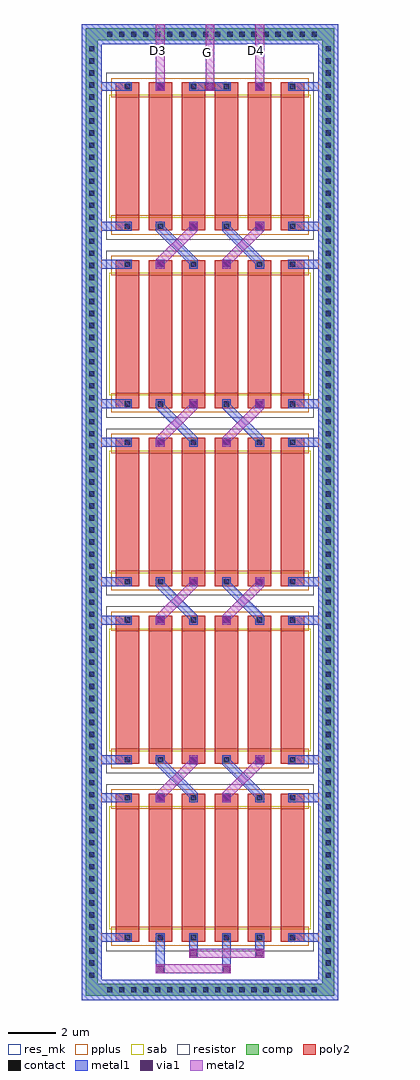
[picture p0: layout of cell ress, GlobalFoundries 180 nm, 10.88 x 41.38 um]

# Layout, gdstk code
from math import pi, radians
import gdstk
lib = gdstk.Library(unit=1e-6, precision=5e-09)
def R(c, l, rs):  # rectangles x0, y0, x1, y1
    for r in rs: c.add(gdstk.rectangle(r[:2], r[2:], *l))
def A(c, l, x, y, w, h, nx, ny, dx, dy):  # array of equal rectangles
    R(c, l, [(x+i*dx, y+j*dy, x+i*dx+w, y+j*dy+h) for i in range(nx) for j in range(ny)])
comp = (22, 0)
poly2 = (30, 0)
pplus = (31, 0)
contact = (33, 0)
metal1 = (34, 0)
via1 = (35, 0)
metal2 = (36, 0)
sab = (49, 0)
resistor = (62, 0)
res_mk = (110, 5)

resss = lib.new_cell('resss')
R(resss, poly2, [(0.4,0.4,6.68,1.4)])
R(resss, pplus, [(0.22,0.22,1.04,1.58), (6.04,0.22,6.86,1.58)])
R(resss, contact, [(0.47,0.79,0.69,1.01), (6.39,0.79,6.61,1.01)])
R(resss, metal1, [(0.39,0.71,0.77,1.09), (6.31,0.71,6.69,1.09)])
R(resss, sab, [(0.94,0.12,6.14,1.68)])
R(resss, resistor, [(0,0,7.08,1.8)])
R(resss, res_mk, [(1.04,0.4,6.04,1.4)])

ress = lib.new_cell('ress')
R(ress, pplus, [(1.26,2.29,9.62,3.11), (1.26,8.11,9.62,8.93), (1.26,9.83,9.62,10.65), (1.26,15.65,9.62,16.47), (1.26,17.37,9.62,18.19), (1.26,23.19,9.62,24.01), (1.26,24.91,9.62,25.73), (1.26,30.73,9.62,31.55), (1.26,32.45,9.62,33.27), (1.26,38.27,9.62,39.09)])
A(ress, contact, 1.075, 0.32, 0.22, 0.22, 18, 2, 0.51, 40.52)
A(ress, contact, 0.32, 0.945, 0.22, 0.22, 1, 78, 0, 0.51)
A(ress, contact, 10.34, 0.945, 0.22, 0.22, 1, 78, 0, 0.51)
A(ress, via1, 3.21, 8.44, 0.26, 0.26, 1, 5, 0, 7.54)
A(ress, via1, 6.01, 8.44, 0.26, 0.26, 1, 4, 0, 7.54)
A(ress, via1, 3.21, 38.6, 0.26, 0.26, 3, 1, 2.1, 0)
R(ress, via1, [(3.21,1.2,3.47,1.46), (6.01,1.2,6.27,1.46), (4.61,1.86,4.87,2.12), (7.41,1.86,7.67,2.12), (4.61,10.06,4.87,10.32), (4.61,10.06,4.87,10.32), (7.41,10.06,7.67,10.32), (7.41,10.06,7.67,10.32), (4.61,17.6,4.87,17.86), (4.61,17.6,4.87,17.86), (7.41,17.6,7.67,17.86), (7.41,17.6,7.67,17.86), (4.61,25.14,4.87,25.4), (4.61,25.14,4.87,25.4), (7.41,25.14,7.67,25.4), (7.41,25.14,7.67,25.4), (4.61,32.68,4.87,32.94), (4.61,32.68,4.87,32.94), (7.41,32.68,7.67,32.94), (7.41,32.68,7.67,32.94), (7.41,38.6,7.67,38.86)])
ress.add(gdstk.FlexPath([(4.93,38.73),(5.95,38.73)], 0.38, ends="flush", simple_path=True, layer=34, datatype=0))  # metal1
ress.add(gdstk.FlexPath([(7.54,31),(7.54,31.3),(6.14,32.7),(6.14,33)], 0.38, ends="flush", simple_path=True, layer=34, datatype=0))  # metal1
ress.add(gdstk.FlexPath([(4.74,31),(4.74,31.3),(3.34,32.7),(3.34,33)], 0.38, ends="flush", simple_path=True, layer=34, datatype=0))  # metal1
ress.add(gdstk.FlexPath([(7.54,23.46),(7.54,23.76),(6.14,25.16),(6.14,25.46)], 0.38, ends="flush", simple_path=True, layer=34, datatype=0))  # metal1
ress.add(gdstk.FlexPath([(4.74,23.46),(4.74,23.76),(3.34,25.16),(3.34,25.46)], 0.38, ends="flush", simple_path=True, layer=34, datatype=0))  # metal1
ress.add(gdstk.FlexPath([(7.54,15.92),(7.54,16.22),(6.14,17.62),(6.14,17.92)], 0.38, ends="flush", simple_path=True, layer=34, datatype=0))  # metal1
ress.add(gdstk.FlexPath([(4.74,15.92),(4.74,16.22),(3.34,17.62),(3.34,17.92)], 0.38, ends="flush", simple_path=True, layer=34, datatype=0))  # metal1
ress.add(gdstk.FlexPath([(7.54,8.38),(7.54,8.68),(6.14,10.08),(6.14,10.38)], 0.38, ends="flush", simple_path=True, layer=34, datatype=0))  # metal1
ress.add(gdstk.FlexPath([(4.74,8.38),(4.74,8.68),(3.34,10.08),(3.34,10.38)], 0.38, ends="flush", simple_path=True, layer=34, datatype=0))  # metal1
ress.add(gdstk.FlexPath([(6.14,2.46),(6.14,1.14)], 0.38, ends="flush", simple_path=True, layer=34, datatype=0))  # metal1
ress.add(gdstk.FlexPath([(7.54,2.46),(7.54,1.8)], 0.38, ends="flush", simple_path=True, layer=34, datatype=0))  # metal1
ress.add(gdstk.FlexPath([(4.74,2.46),(4.74,1.8)], 0.38, ends="flush", simple_path=True, layer=34, datatype=0))  # metal1
ress.add(gdstk.FlexPath([(3.34,2.46),(3.34,1.14)], 0.38, ends="flush", simple_path=True, layer=34, datatype=0))  # metal1
ress.add(gdstk.FlexPath([(0.86,40.95),(10.45,40.95),(10.45,0.43),(0.43,0.43),(0.43,41.38)], 0.86, ends="flush", simple_path=True, layer=34, datatype=0))  # metal1
ress.add(gdstk.FlexPath([(1.75,38.73),(0.86,38.73)], 0.38, ends="flush", simple_path=True, layer=34, datatype=0))  # metal1
ress.add(gdstk.FlexPath([(1.75,32.81),(0.86,32.81)], 0.38, ends="flush", simple_path=True, layer=34, datatype=0))  # metal1
ress.add(gdstk.FlexPath([(1.75,31.19),(0.86,31.19)], 0.38, ends="flush", simple_path=True, layer=34, datatype=0))  # metal1
ress.add(gdstk.FlexPath([(1.75,25.27),(0.86,25.27)], 0.38, ends="flush", simple_path=True, layer=34, datatype=0))  # metal1
ress.add(gdstk.FlexPath([(1.75,23.65),(0.86,23.65)], 0.38, ends="flush", simple_path=True, layer=34, datatype=0))  # metal1
ress.add(gdstk.FlexPath([(1.75,17.73),(0.86,17.73)], 0.38, ends="flush", simple_path=True, layer=34, datatype=0))  # metal1
ress.add(gdstk.FlexPath([(1.75,16.11),(0.86,16.11)], 0.38, ends="flush", simple_path=True, layer=34, datatype=0))  # metal1
ress.add(gdstk.FlexPath([(1.75,10.19),(0.86,10.19)], 0.38, ends="flush", simple_path=True, layer=34, datatype=0))  # metal1
ress.add(gdstk.FlexPath([(1.75,8.57),(0.86,8.57)], 0.38, ends="flush", simple_path=True, layer=34, datatype=0))  # metal1
ress.add(gdstk.FlexPath([(1.75,2.65),(0.86,2.65)], 0.38, ends="flush", simple_path=True, layer=34, datatype=0))  # metal1
ress.add(gdstk.FlexPath([(10.02,38.73),(9.13,38.73)], 0.38, ends="flush", simple_path=True, layer=34, datatype=0))  # metal1
ress.add(gdstk.FlexPath([(10.02,32.81),(9.13,32.81)], 0.38, ends="flush", simple_path=True, layer=34, datatype=0))  # metal1
ress.add(gdstk.FlexPath([(10.02,31.19),(9.13,31.19)], 0.38, ends="flush", simple_path=True, layer=34, datatype=0))  # metal1
ress.add(gdstk.FlexPath([(10.02,25.27),(9.13,25.27)], 0.38, ends="flush", simple_path=True, layer=34, datatype=0))  # metal1
ress.add(gdstk.FlexPath([(10.02,23.65),(9.13,23.65)], 0.38, ends="flush", simple_path=True, layer=34, datatype=0))  # metal1
ress.add(gdstk.FlexPath([(10.02,17.73),(9.13,17.73)], 0.38, ends="flush", simple_path=True, layer=34, datatype=0))  # metal1
ress.add(gdstk.FlexPath([(10.02,16.11),(9.13,16.11)], 0.38, ends="flush", simple_path=True, layer=34, datatype=0))  # metal1
ress.add(gdstk.FlexPath([(10.02,10.19),(9.13,10.19)], 0.38, ends="flush", simple_path=True, layer=34, datatype=0))  # metal1
ress.add(gdstk.FlexPath([(10.02,8.57),(9.13,8.57)], 0.38, ends="flush", simple_path=True, layer=34, datatype=0))  # metal1
ress.add(gdstk.FlexPath([(10.02,2.65),(9.13,2.65)], 0.38, ends="flush", simple_path=True, layer=34, datatype=0))  # metal1
ress.add(gdstk.FlexPath([(0.68,40.95),(10.45,40.95),(10.45,0.43),(0.43,0.43),(0.43,41.2)], 0.5, ends="flush", simple_path=True, layer=22, datatype=0))  # comp
ress.add(gdstk.FlexPath([(0.86,40.95),(10.45,40.95),(10.45,0.43),(0.43,0.43),(0.43,41.38)], 0.86, ends="flush", simple_path=True, layer=31, datatype=0))  # pplus
ress.add(gdstk.FlexPath([(6.14,31),(6.14,31.3),(7.54,32.7),(7.54,33)], 0.38, ends="flush", simple_path=True, layer=36, datatype=0))  # metal2
ress.add(gdstk.FlexPath([(3.34,31),(3.34,31.3),(4.74,32.7),(4.74,33)], 0.38, ends="flush", simple_path=True, layer=36, datatype=0))  # metal2
ress.add(gdstk.FlexPath([(6.14,23.46),(6.14,23.76),(7.54,25.16),(7.54,25.46)], 0.38, ends="flush", simple_path=True, layer=36, datatype=0))  # metal2
ress.add(gdstk.FlexPath([(3.34,23.46),(3.34,23.76),(4.74,25.16),(4.74,25.46)], 0.38, ends="flush", simple_path=True, layer=36, datatype=0))  # metal2
ress.add(gdstk.FlexPath([(6.14,15.92),(6.14,16.22),(7.54,17.62),(7.54,17.92)], 0.38, ends="flush", simple_path=True, layer=36, datatype=0))  # metal2
ress.add(gdstk.FlexPath([(3.34,15.92),(3.34,16.22),(4.74,17.62),(4.74,17.92)], 0.38, ends="flush", simple_path=True, layer=36, datatype=0))  # metal2
ress.add(gdstk.FlexPath([(6.14,8.38),(6.14,8.68),(7.54,10.08),(7.54,10.38)], 0.38, ends="flush", simple_path=True, layer=36, datatype=0))  # metal2
ress.add(gdstk.FlexPath([(3.34,8.38),(3.34,8.68),(4.74,10.08),(4.74,10.38)], 0.38, ends="flush", simple_path=True, layer=36, datatype=0))  # metal2
ress.add(gdstk.FlexPath([(6.33,1.33),(3.15,1.33)], 0.38, ends="flush", simple_path=True, layer=36, datatype=0))  # metal2
ress.add(gdstk.FlexPath([(7.73,1.99),(4.55,1.99)], 0.38, ends="flush", simple_path=True, layer=36, datatype=0))  # metal2
ress.add(gdstk.FlexPath([(3.34,38.54),(3.34,41.38)], 0.38, ends="flush", simple_path=True, layer=36, datatype=0))  # metal2
ress.add(gdstk.FlexPath([(7.54,38.54),(7.54,41.38)], 0.38, ends="flush", simple_path=True, layer=36, datatype=0))  # metal2
ress.add(gdstk.FlexPath([(5.44,38.54),(5.44,41.38)], 0.38, ends="flush", simple_path=True, layer=36, datatype=0))  # metal2
ress.add(gdstk.Reference(resss, (2.84,32.23), rotation=pi/2))
ress.add(gdstk.Reference(resss, (4.24,32.23), rotation=pi/2))
ress.add(gdstk.Reference(resss, (5.64,32.23), rotation=pi/2))
ress.add(gdstk.Reference(resss, (7.04,32.23), rotation=pi/2))
ress.add(gdstk.Reference(resss, (8.44,32.23), rotation=pi/2))
ress.add(gdstk.Reference(resss, (9.84,32.23), rotation=pi/2))
ress.add(gdstk.Reference(resss, (2.84,24.69), rotation=pi/2))
ress.add(gdstk.Reference(resss, (4.24,24.69), rotation=pi/2))
ress.add(gdstk.Reference(resss, (5.64,24.69), rotation=pi/2))
ress.add(gdstk.Reference(resss, (7.04,24.69), rotation=pi/2))
ress.add(gdstk.Reference(resss, (8.44,24.69), rotation=pi/2))
ress.add(gdstk.Reference(resss, (9.84,24.69), rotation=pi/2))
ress.add(gdstk.Reference(resss, (2.84,17.15), rotation=pi/2))
ress.add(gdstk.Reference(resss, (4.24,17.15), rotation=pi/2))
ress.add(gdstk.Reference(resss, (5.64,17.15), rotation=pi/2))
ress.add(gdstk.Reference(resss, (7.04,17.15), rotation=pi/2))
ress.add(gdstk.Reference(resss, (8.44,17.15), rotation=pi/2))
ress.add(gdstk.Reference(resss, (9.84,17.15), rotation=pi/2))
ress.add(gdstk.Reference(resss, (2.84,9.61), rotation=pi/2))
ress.add(gdstk.Reference(resss, (4.24,9.61), rotation=pi/2))
ress.add(gdstk.Reference(resss, (5.64,9.61), rotation=pi/2))
ress.add(gdstk.Reference(resss, (7.04,9.61), rotation=pi/2))
ress.add(gdstk.Reference(resss, (8.44,9.61), rotation=pi/2))
ress.add(gdstk.Reference(resss, (9.84,9.61), rotation=pi/2))
ress.add(gdstk.Reference(resss, (2.84,2.07), rotation=pi/2))
ress.add(gdstk.Reference(resss, (4.24,2.07), rotation=pi/2))
ress.add(gdstk.Reference(resss, (5.64,2.07), rotation=pi/2))
ress.add(gdstk.Reference(resss, (7.04,2.07), rotation=pi/2))
ress.add(gdstk.Reference(resss, (8.44,2.07), rotation=pi/2))
ress.add(gdstk.Reference(resss, (9.84,2.07), rotation=pi/2))
ress.add(gdstk.Label('D3', (3.265,40.27), layer=36, texttype=10))
ress.add(gdstk.Label('D4', (7.415,40.26), layer=36, texttype=10))
ress.add(gdstk.Label('G', (5.335,40.165), layer=36, texttype=10))

lib.write_gds('ress.gds')
